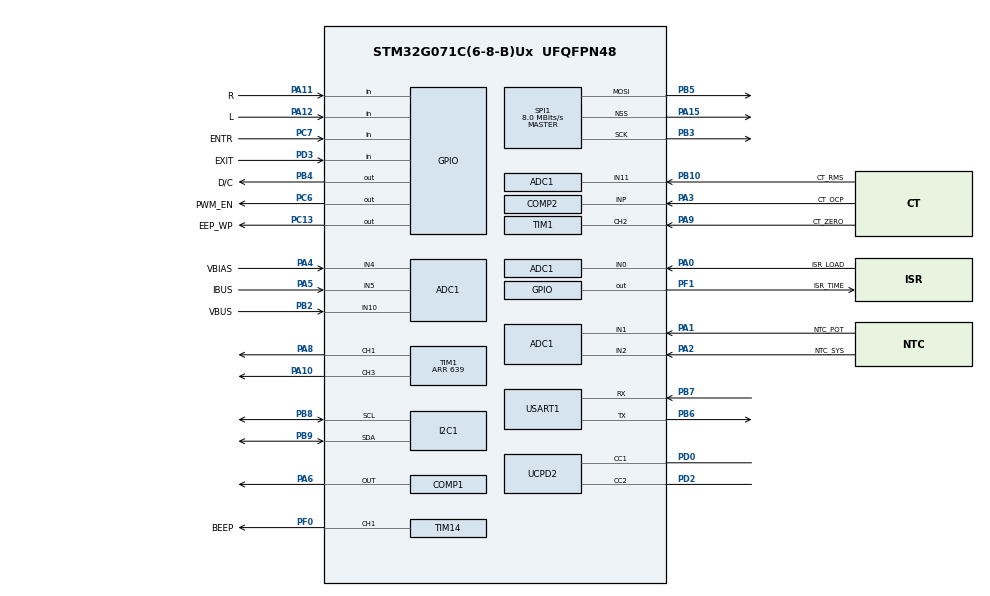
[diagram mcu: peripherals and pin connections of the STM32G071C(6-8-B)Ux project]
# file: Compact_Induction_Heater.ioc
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ADC1.AWD1HighThreshold=3379
ADC1.AWD1ITMode=ENABLE
ADC1.AWD2HighThreshold=4095
ADC1.AWD2ITMode=DISABLE
ADC1.AWD3HighThreshold=4095
ADC1.AWD3ITMode=ENABLE
ADC1.AWD3LowThreshold=640
ADC1.AWDChannel-2\#ChannelRegularConversion=ADC_CHANNEL_5
ADC1.AWDChannel-5\#ChannelRegularConversion=ADC_CHANNEL_2
ADC1.AWatchdogChannel=ADC_CHANNEL_10
ADC1.Channel-1\#ChannelRegularConversion=ADC_CHANNEL_11
ADC1.Channel-2\#ChannelRegularConversion=ADC_CHANNEL_5
ADC1.Channel-3\#ChannelRegularConversion=ADC_CHANNEL_1
ADC1.Channel-4\#ChannelRegularConversion=ADC_CHANNEL_10
ADC1.Channel-5\#ChannelRegularConversion=ADC_CHANNEL_2
ADC1.Channel-6\#ChannelRegularConversion=ADC_CHANNEL_4
ADC1.Channel-7\#ChannelRegularConversion=ADC_CHANNEL_0
ADC1.Channel-8\#ChannelRegularConversion=ADC_CHANNEL_TEMPSENSOR
ADC1.ClockPrescaler=ADC_CLOCK_SYNC_PCLK_DIV4
ADC1.DMAContinuousRequests=ENABLE
ADC1.EnableAnalogWatchDog1=true
ADC1.EnableAnalogWatchDog2=true
ADC1.EnableAnalogWatchDog3=true
ADC1.ExternalTrigConv=ADC_EXTERNALTRIG_T6_TRGO
ADC1.MonitoredBy-2\#ChannelRegularConversion=ADC_ANALOGWATCHDOG_2
ADC1.MonitoredBy-5\#ChannelRegularConversion=ADC_ANALOGWATCHDOG_3
ADC1.NbrOfConversion=8
ADC1.NbrOfConversionFlag=1
ADC1.Rank-1\#ChannelRegularConversion=1
ADC1.Rank-2\#ChannelRegularConversion=2
ADC1.Rank-3\#ChannelRegularConversion=3
ADC1.Rank-4\#ChannelRegularConversion=4
ADC1.Rank-5\#ChannelRegularConversion=5
ADC1.Rank-6\#ChannelRegularConversion=6
ADC1.Rank-7\#ChannelRegularConversion=7
ADC1.Rank-8\#ChannelRegularConversion=8
ADC1.SamplingTime-1\#ChannelRegularConversion=ADC_SAMPLINGTIME_COMMON_1
ADC1.SamplingTime-2\#ChannelRegularConversion=ADC_SAMPLINGTIME_COMMON_1
ADC1.SamplingTime-3\#ChannelRegularConversion=ADC_SAMPLINGTIME_COMMON_1
ADC1.SamplingTime-4\#ChannelRegularConversion=ADC_SAMPLINGTIME_COMMON_1
ADC1.SamplingTime-5\#ChannelRegularConversion=ADC_SAMPLINGTIME_COMMON_1
ADC1.SamplingTime-6\#ChannelRegularConversion=ADC_SAMPLINGTIME_COMMON_1
ADC1.SamplingTime-7\#ChannelRegularConversion=ADC_SAMPLINGTIME_COMMON_1
ADC1.SamplingTime-8\#ChannelRegularConversion=ADC_SAMPLINGTIME_COMMON_2
ADC1.SamplingTimeCommon1=ADC_SAMPLETIME_7CYCLES_5
ADC1.SamplingTimeCommon2=ADC_SAMPLETIME_79CYCLES_5
ADC1.SelectedChannel=ADC_CHANNEL_0|ADC_CHANNEL_1|ADC_CHANNEL_2|ADC_CHANNEL_4|ADC_CHANNEL_5|ADC_CHANNEL_TEMPSENSOR|ADC_CHANNEL_10|ADC_CHANNEL_11
ADC1.Sequencer=FULLY_CONFIGURABLE
ADC1.WDG2ChannelR2=ADC_CHANNEL_5
ADC1.WDG3ChannelR5=ADC_CHANNEL_2
ADC1.master=1
COMP1.OutputPol=COMP_OUTPUTPOL_NONINVERTED
COMP1.WindowMode=COMP_WINDOWMODE_COMP2_INPUT_PLUS_COMMON
COMP1.WindowOutput=COMP_WINDOWOUTPUT_COMP1
DAC1.DAC_Channel-DAC_OUT1_Int=DAC_CHANNEL_1
DAC1.DAC_Channel-DAC_OUT2_Int=DAC_CHANNEL_2
Dma.ADC1.1.Direction=DMA_PERIPH_TO_MEMORY
Dma.ADC1.1.EventEnable=DISABLE
Dma.ADC1.1.Instance=DMA1_Channel2
Dma.ADC1.1.MemDataAlignment=DMA_MDATAALIGN_HALFWORD
Dma.ADC1.1.MemInc=DMA_MINC_ENABLE
Dma.ADC1.1.Mode=DMA_CIRCULAR
Dma.ADC1.1.PeriphDataAlignment=DMA_PDATAALIGN_HALFWORD
Dma.ADC1.1.PeriphInc=DMA_PINC_DISABLE
Dma.ADC1.1.Polarity=HAL_DMAMUX_REQ_GEN_RISING
Dma.ADC1.1.Priority=DMA_PRIORITY_HIGH
Dma.ADC1.1.RequestNumber=1
Dma.ADC1.1.SignalID=NONE
Dma.ADC1.1.SyncEnable=DISABLE
Dma.ADC1.1.SyncPolarity=HAL_DMAMUX_SYNC_NO_EVENT
Dma.ADC1.1.SyncRequestNumber=1
Dma.ADC1.1.SyncSignalID=NONE
Dma.Request0=SPI1_TX
Dma.Request1=ADC1
Dma.Request2=USART1_RX
Dma.Request3=USART1_TX
Dma.Request4=UCPD2_RX
Dma.Request5=UCPD2_TX
Dma.Request6=TIM1_CH2
Dma.SPI1_TX.0.Direction=DMA_MEMORY_TO_PERIPH
Dma.SPI1_TX.0.EventEnable=DISABLE
Dma.SPI1_TX.0.Instance=DMA1_Channel1
Dma.SPI1_TX.0.MemDataAlignment=DMA_MDATAALIGN_BYTE
Dma.SPI1_TX.0.MemInc=DMA_MINC_ENABLE
Dma.SPI1_TX.0.Mode=DMA_NORMAL
Dma.SPI1_TX.0.PeriphDataAlignment=DMA_PDATAALIGN_BYTE
Dma.SPI1_TX.0.PeriphInc=DMA_PINC_DISABLE
Dma.SPI1_TX.0.Polarity=HAL_DMAMUX_REQ_GEN_RISING
Dma.SPI1_TX.0.Priority=DMA_PRIORITY_LOW
Dma.SPI1_TX.0.RequestNumber=1
Dma.SPI1_TX.0.SignalID=NONE
Dma.SPI1_TX.0.SyncEnable=DISABLE
Dma.SPI1_TX.0.SyncPolarity=HAL_DMAMUX_SYNC_NO_EVENT
Dma.SPI1_TX.0.SyncRequestNumber=1
Dma.SPI1_TX.0.SyncSignalID=NONE
Dma.TIM1_CH2.6.Direction=DMA_PERIPH_TO_MEMORY
Dma.TIM1_CH2.6.EventEnable=DISABLE
Dma.TIM1_CH2.6.Instance=DMA1_Channel3
Dma.TIM1_CH2.6.MemDataAlignment=DMA_MDATAALIGN_HALFWORD
Dma.TIM1_CH2.6.MemInc=DMA_MINC_ENABLE
Dma.TIM1_CH2.6.Mode=DMA_NORMAL
Dma.TIM1_CH2.6.PeriphDataAlignment=DMA_PDATAALIGN_HALFWORD
Dma.TIM1_CH2.6.PeriphInc=DMA_PINC_DISABLE
Dma.TIM1_CH2.6.Polarity=HAL_DMAMUX_REQ_GEN_RISING
Dma.TIM1_CH2.6.Priority=DMA_PRIORITY_MEDIUM
Dma.TIM1_CH2.6.RequestNumber=1
Dma.TIM1_CH2.6.SignalID=NONE
Dma.TIM1_CH2.6.SyncEnable=DISABLE
Dma.TIM1_CH2.6.SyncPolarity=HAL_DMAMUX_SYNC_NO_EVENT
Dma.TIM1_CH2.6.SyncRequestNumber=1
Dma.TIM1_CH2.6.SyncSignalID=NONE
Dma.UCPD2_RX.4.Direction=DMA_PERIPH_TO_MEMORY
Dma.UCPD2_RX.4.EventEnable=DISABLE
Dma.UCPD2_RX.4.Instance=DMA1_Channel6
Dma.UCPD2_RX.4.MemDataAlignment=DMA_MDATAALIGN_BYTE
Dma.UCPD2_RX.4.MemInc=DMA_MINC_ENABLE
Dma.UCPD2_RX.4.Mode=DMA_NORMAL
Dma.UCPD2_RX.4.PeriphDataAlignment=DMA_PDATAALIGN_BYTE
Dma.UCPD2_RX.4.PeriphInc=DMA_PINC_DISABLE
Dma.UCPD2_RX.4.Polarity=HAL_DMAMUX_REQ_GEN_RISING
Dma.UCPD2_RX.4.Priority=DMA_PRIORITY_LOW
Dma.UCPD2_RX.4.RequestNumber=1
Dma.UCPD2_RX.4.SignalID=NONE
Dma.UCPD2_RX.4.SyncEnable=DISABLE
Dma.UCPD2_RX.4.SyncPolarity=HAL_DMAMUX_SYNC_NO_EVENT
Dma.UCPD2_RX.4.SyncRequestNumber=1
Dma.UCPD2_RX.4.SyncSignalID=NONE
Dma.UCPD2_TX.5.Direction=DMA_MEMORY_TO_PERIPH
Dma.UCPD2_TX.5.EventEnable=DISABLE
Dma.UCPD2_TX.5.Instance=DMA1_Channel7
Dma.UCPD2_TX.5.MemDataAlignment=DMA_MDATAALIGN_BYTE
Dma.UCPD2_TX.5.MemInc=DMA_MINC_ENABLE
Dma.UCPD2_TX.5.Mode=DMA_NORMAL
Dma.UCPD2_TX.5.PeriphDataAlignment=DMA_PDATAALIGN_BYTE
Dma.UCPD2_TX.5.PeriphInc=DMA_PINC_DISABLE
Dma.UCPD2_TX.5.Polarity=HAL_DMAMUX_REQ_GEN_RISING
Dma.UCPD2_TX.5.Priority=DMA_PRIORITY_LOW
Dma.UCPD2_TX.5.RequestNumber=1
Dma.UCPD2_TX.5.SignalID=NONE
Dma.UCPD2_TX.5.SyncEnable=DISABLE
Dma.UCPD2_TX.5.SyncPolarity=HAL_DMAMUX_SYNC_NO_EVENT
Dma.UCPD2_TX.5.SyncRequestNumber=1
Dma.UCPD2_TX.5.SyncSignalID=NONE
Dma.USART1_RX.2.Direction=DMA_PERIPH_TO_MEMORY
Dma.USART1_RX.2.EventEnable=DISABLE
Dma.USART1_RX.2.Instance=DMA1_Channel4
Dma.USART1_RX.2.MemDataAlignment=DMA_MDATAALIGN_BYTE
Dma.USART1_RX.2.MemInc=DMA_MINC_ENABLE
Dma.USART1_RX.2.Mode=DMA_CIRCULAR
Dma.USART1_RX.2.PeriphDataAlignment=DMA_PDATAALIGN_BYTE
Dma.USART1_RX.2.PeriphInc=DMA_PINC_DISABLE
Dma.USART1_RX.2.Polarity=HAL_DMAMUX_REQ_GEN_RISING
Dma.USART1_RX.2.Priority=DMA_PRIORITY_LOW
Dma.USART1_RX.2.RequestNumber=1
Dma.USART1_RX.2.SignalID=NONE
Dma.USART1_RX.2.SyncEnable=DISABLE
Dma.USART1_RX.2.SyncPolarity=HAL_DMAMUX_SYNC_NO_EVENT
Dma.USART1_RX.2.SyncRequestNumber=1
Dma.USART1_RX.2.SyncSignalID=NONE
Dma.USART1_TX.3.Direction=DMA_MEMORY_TO_PERIPH
Dma.USART1_TX.3.EventEnable=DISABLE
Dma.USART1_TX.3.Instance=DMA1_Channel5
Dma.USART1_TX.3.MemDataAlignment=DMA_MDATAALIGN_BYTE
Dma.USART1_TX.3.MemInc=DMA_MINC_ENABLE
Dma.USART1_TX.3.Mode=DMA_NORMAL
Dma.USART1_TX.3.PeriphDataAlignment=DMA_PDATAALIGN_BYTE
Dma.USART1_TX.3.PeriphInc=DMA_PINC_DISABLE
Dma.USART1_TX.3.Polarity=HAL_DMAMUX_REQ_GEN_RISING
Dma.USART1_TX.3.Priority=DMA_PRIORITY_LOW
Dma.USART1_TX.3.RequestNumber=1
Dma.USART1_TX.3.SignalID=NONE
Dma.USART1_TX.3.SyncEnable=DISABLE
Dma.USART1_TX.3.SyncPolarity=HAL_DMAMUX_SYNC_NO_EVENT
Dma.USART1_TX.3.SyncRequestNumber=1
Dma.USART1_TX.3.SyncSignalID=NONE
I2C1.Timing=0x00B07CB4
Mcu.Family=STM32G0
Mcu.Name=STM32G071C(6-8-B)Ux
Mcu.Package=UFQFPN48
NVIC.ADC1_COMP_IRQn=true\:0\:0\:false\:false\:true\:true\:true\:true
NVIC.DMA1_Ch4_7_DMAMUX1_OVR_IRQn=true\:1\:0\:true\:false\:true\:true\:true\:true
NVIC.DMA1_Channel1_IRQn=true\:1\:0\:true\:false\:true\:false\:true\:true
NVIC.DMA1_Channel2_3_IRQn=true\:0\:0\:false\:false\:true\:true\:true\:true
NVIC.I2C1_IRQn=true\:2\:0\:true\:false\:true\:true\:true\:true
NVIC.SPI1_IRQn=true\:2\:0\:true\:false\:true\:true\:true\:true
NVIC.UCPD1_2_IRQn=true\:1\:0\:true\:false\:true\:true\:false\:true
NVIC.USART1_IRQn=true\:1\:0\:true\:false\:true\:true\:true\:true
PA0.GPIO_Label=ISR_LOAD
PA0.Mode=IN0
PA0.Signal=ADC1_IN0
PA1.GPIO_Label=NTC_POT
PA1.Mode=IN1
PA1.Signal=ADC1_IN1
PA10.GPIO_PuPd=GPIO_PULLDOWN
PA10.GPIO_Speed=GPIO_SPEED_FREQ_VERY_HIGH
PA10.Signal=S_TIM1_CH3
PA11\ [PA9].GPIO_Label=R
PA11\ [PA9].GPIO_PuPd=GPIO_PULLUP
PA11\ [PA9].Signal=GPIO_Input
PA12\ [PA10].GPIO_Label=L
PA12\ [PA10].GPIO_PuPd=GPIO_PULLUP
PA12\ [PA10].Signal=GPIO_Input
PA13.Mode=Serial_Wire
PA13.Signal=SYS_SWDIO
PA14-BOOT0.Mode=Serial_Wire
PA14-BOOT0.Signal=SYS_SWCLK
PA15.GPIO_Speed=GPIO_SPEED_FREQ_MEDIUM
PA15.Mode=NSS_Signal_Hard_Output
PA15.Signal=SPI1_NSS
PA2.GPIO_Label=NTC_SYS
PA2.Mode=IN2
PA2.Signal=ADC1_IN2
PA3.GPIO_Label=CT_OCP
PA3.Mode=INP
PA3.Signal=COMP2_INP
PA4.GPIO_Label=VBIAS
PA4.Mode=IN4
PA4.Signal=ADC1_IN4
PA5.GPIO_Label=IBUS
PA5.Mode=IN5
PA5.Signal=ADC1_IN5
PA6.Mode=ExternalOutput
PA6.PinState=GPIO_PIN_SET
PA6.Signal=COMP1_OUT
PA8.GPIO_PuPd=GPIO_PULLDOWN
PA8.GPIO_Speed=GPIO_SPEED_FREQ_VERY_HIGH
PA8.Signal=S_TIM1_CH1
PA9.GPIO_Label=CT_ZERO
PA9.GPIO_PuPd=GPIO_PULLDOWN
PA9.GPIO_Speed=GPIO_SPEED_FREQ_VERY_HIGH
PA9.Signal=S_TIM1_CH2
PB10.GPIO_Label=CT_RMS
PB10.Mode=IN11
PB10.Signal=ADC1_IN11
PB2.GPIO_Label=VBUS
PB2.Mode=IN10
PB2.Signal=ADC1_IN10
PB3.GPIO_Speed=GPIO_SPEED_FREQ_HIGH
PB3.Mode=TX_Only_Simplex_Unidirect_Master
PB3.Signal=SPI1_SCK
PB4.GPIO_Label=D/C
PB4.GPIO_Speed=GPIO_SPEED_FREQ_MEDIUM
PB4.Signal=GPIO_Output
PB5.GPIO_Speed=GPIO_SPEED_FREQ_HIGH
PB5.Mode=TX_Only_Simplex_Unidirect_Master
PB5.Signal=SPI1_MOSI
PB6.GPIO_Speed=GPIO_SPEED_FREQ_MEDIUM
PB6.Mode=Asynchronous
PB6.Signal=USART1_TX
PB7.GPIO_Speed=GPIO_SPEED_FREQ_MEDIUM
PB7.Mode=Asynchronous
PB7.Signal=USART1_RX
PB8.GPIO_Pu=GPIO_PULLUP
PB8.GPIO_Speed=GPIO_SPEED_FREQ_MEDIUM
PB8.Mode=I2C
PB8.Signal=I2C1_SCL
PB9.GPIO_Pu=GPIO_PULLUP
PB9.GPIO_Speed=GPIO_SPEED_FREQ_MEDIUM
PB9.Mode=I2C
PB9.Signal=I2C1_SDA
PC13.GPIO_Label=EEP_WP
PC13.GPIO_PuPd=GPIO_PULLDOWN
PC13.Signal=GPIO_Output
PC14-OSC32_IN\ (PC14).Mode=LSE-External-Oscillator
PC14-OSC32_IN\ (PC14).Signal=RCC_OSC32_IN
PC15-OSC32_OUT\ (PC15).Mode=LSE-External-Oscillator
PC15-OSC32_OUT\ (PC15).Signal=RCC_OSC32_OUT
PC6.GPIO_Label=PWM_EN
PC6.GPIO_ModeDefaultOutputPP=GPIO_MODE_OUTPUT_PP
PC6.GPIO_PuPd=GPIO_NOPULL
PC6.Signal=GPIO_Output
PC7.GPIO_Label=ENTR
PC7.GPIO_PuPd=GPIO_PULLUP
PC7.Signal=GPIO_Input
PD0.Mode=Sink_AllSignals
PD0.Signal=UCPD2_CC1
PD2.Mode=Sink_AllSignals
PD2.Signal=UCPD2_CC2
PD3.GPIO_Label=EXIT
PD3.GPIO_PuPd=GPIO_PULLUP
PD3.Signal=GPIO_Input
PF0-OSC_IN\ (PF0).GPIO_Label=BEEP
PF0-OSC_IN\ (PF0).GPIO_PuPd=GPIO_PULLDOWN
PF0-OSC_IN\ (PF0).GPIO_Speed=GPIO_SPEED_FREQ_MEDIUM
PF0-OSC_IN\ (PF0).Signal=S_TIM14_CH1
PF1-OSC_OUT\ (PF1).GPIO_Label=ISR_TIME
PF1-OSC_OUT\ (PF1).Signal=GPIO_Output
ProjectManager.HeapSize=0x2000
ProjectManager.StackSize=0x400
ProjectManager.TargetToolchain=MDK-ARM V5.32
RCC.ADCFreq_Value=64000000
RCC.AHBFreq_Value=64000000
RCC.APB1CLKDivider=RCC_HCLK_DIV2
RCC.CortexFreq_Value=64000000
RCC.EXTERNAL_CLOCK_VALUE=48000
RCC.HCLKFreq_Value=64000000
RCC.HSE_VALUE=8000000
RCC.HSI_VALUE=16000000
RCC.PLLN=16
RCC.PLLR=RCC_PLLR_DIV4
RCC.RTCClockSelection=RCC_RTCCLKSOURCE_LSE
RCC.SYSCLKFreq_VALUE=64000000
RCC.SYSCLKSource=RCC_SYSCLKSOURCE_PLLCLK
RCC.TIM15CLockSelectionVirtual=RCC_TIM15CLKSOURCE_PLL
RCC.TIM1CLockSelectionVirtual=RCC_TIM1CLKSOURCE_PLL
RCC.VCOOutputFreq_Value=256000000
RTC.Format=RTC_FORMAT_BIN
SH.S_TIM14_CH1.0=TIM14_CH1,PWM Generation1 CH1
SH.S_TIM1_CH1.0=TIM1_CH1,PWM Generation1 CH1
SH.S_TIM1_CH2.0=TIM1_CH2,Input_Capture2_from_TI2
SH.S_TIM1_CH3.0=TIM1_CH3,PWM Generation3 CH3
SPI1.BaudRatePrescaler=SPI_BAUDRATEPRESCALER_4
SPI1.CalculateBaudRate=8.0 MBits/s
SPI1.DataSize=SPI_DATASIZE_8BIT
SPI1.Direction=SPI_DIRECTION_2LINES
SPI1.Mode=SPI_MODE_MASTER
SPI1.VirtualNSS=VM_NSSHARD
SPI1.VirtualType=VM_MASTER
SYS.VoltageScaling=SYSCFG_VREFBUF_VOLTAGE_SCALE1
TIM1.AutoReloadPreload=TIM_AUTORELOAD_PRELOAD_ENABLE
TIM1.AutomaticOutput=TIM_AUTOMATICOUTPUT_DISABLE
TIM1.Break2State=TIM_BREAK2_DISABLE
TIM1.BreakState=TIM_BREAK_ENABLE
TIM1.Channel-Input_Capture2_from_TI2=TIM_CHANNEL_2
TIM1.Channel-PWM\ Generation1\ CH1=TIM_CHANNEL_1
TIM1.Channel-PWM\ Generation3\ CH3=TIM_CHANNEL_3
TIM1.Channel-PWM\ Generation4\ No\ Output=TIM_CHANNEL_4
TIM1.ICPolarity_CH2=TIM_INPUTCHANNELPOLARITY_RISING
TIM1.OCMode_PWM-PWM\ Generation1\ CH1=TIM_OCMODE_PWM1
TIM1.OCMode_PWM-PWM\ Generation3\ CH3=TIM_OCMODE_COMBINED_PWM2
TIM1.Period=639
TIM1.Pulse-PWM\ Generation1\ CH1=319
TIM1.SourceBRK2COMP2=TIM_BREAKINPUTSOURCE_DISABLE
TIM1.SourceBRKCOMP1=TIM_BREAKINPUTSOURCE_ENABLE
TIM1.SourceBRKCOMP1Polarity=TIM_BREAKINPUTSOURCE_POLARITY_LOW
TIM1.SourceBRKCOMP2=TIM_BREAKINPUTSOURCE_DISABLE
TIM1.TIM_MasterOutputTrigger=TIM_TRGO_UPDATE
TIM14.Channel=TIM_CHANNEL_1
TIM15.Period=65535
TIM15.TIM_MasterSlaveMode=TIM_MASTERSLAVEMODE_DISABLE
TIM6.Period=3199
TIM6.TIM_MasterOutputTrigger=TIM_TRGO_UPDATE
USART1.VirtualMode-Asynchronous=VM_ASYNC
VP_ADC1_TempSens_Input.Mode=IN-TempSens
VP_COMP1_VS_DACOUT1.Mode=INM_DACOUT1
VP_COMP1_VS_WindowMode.Mode=WindowMode
VP_COMP2_VS_DACOUT2.Mode=INM_DACOUT2
VP_CRC_VS_CRC.Mode=CRC_Activate
VP_DAC1_VS_DACI1.Mode=DAC_OUT1_Int
VP_DAC1_VS_DACI2.Mode=DAC_OUT2_Int
VP_RTC_VS_RTC_Activate.Mode=RTC_Enabled
VP_RTC_VS_RTC_Calendar.Mode=RTC_Calendar
VP_TIM14_VS_ClockSourceINT.Mode=Enable_Timer
VP_TIM15_VS_ClockSourceITR.Mode=TriggerSource_ITR0
VP_TIM1_VS_ClockSourceINT.Mode=Internal
VP_TIM1_VS_no_output4.Mode=PWM Generation4 No Output
VP_TIM6_VS_ClockSourceINT.Mode=Enable_Timer
VREF+.Mode=InternalMode
VREF+.Signal=VREFBUF_OUT
board=custom

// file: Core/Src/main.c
/* USER CODE BEGIN Header */
/**
  ******************************************************************************
  * @file           : main.c
  * @brief          : Main program body
  ******************************************************************************
  * @attention
  *
  * Copyright (c) 2026 STMicroelectronics.
  * All rights reserved.
  *
  * This software is licensed under terms that can be found in the LICENSE file
  * in the root directory of this software component.
  * If no LICENSE file comes with this software, it is provided AS-IS.
  *
  ******************************************************************************
  */
/* USER CODE END Header */
#include "main.h"
#include "adc.h"
#include "comp.h"
#include "crc.h"
#include "dac.h"
#include "dma.h"
#include "i2c.h"
#include "rtc.h"
#include "spi.h"
#include "tim.h"
#include "ucpd.h"
#include "usart.h"
#include "gpio.h"

/* USER CODE BEGIN Includes */
#include "usbpd.h"
#include "app_tasks.h"
#include "framework/time_service.h"
#include "conv_controller.h"
#include "usart.h"
#include "ih_reset_diag.h"
#include <stdio.h>

/* USER CODE END Includes */

void SystemClock_Config(void);

/* USER CODE BEGIN 0 */
/* IH01A 生成护栏: uvprojx 里没有 FULL 的定义,说明有人在 CubeMX 里重新生成过工程
 * (CubeMX 会按固件包 v1.6.3 的旧记录把 PD 配置打回 MINSNK)。
 * 处理办法: git checkout HEAD -- Firmware/MDK-ARM/Compact_Induction_Heater.uvprojx
 *          (CubeMX 6.17 会保留工程里的自定义 IncludePath/Define/文件列表,
 *           只把 PD 库目录和它自认为"多余"的驱动源文件删掉;库已搬到
 *           Firmware/ST_USBPD_Library_v541 不再受它管理)。 */
#if !defined(USBPDCORE_LIB_PD3_FULL)
#error "CubeMX regenerated the project without the FULL USB-PD stack. Run: git checkout HEAD -- Firmware/MDK-ARM/Compact_Induction_Heater.uvprojx, then Rebuild."
#endif
/* SRAM VTOR relocation lives in main.c, not in the PowerControl module.
 * Flash RESET stays at 0x08000000; .ih_vectors is reserved in scatter.
 * 64 vector entries = 256 bytes, and the destination is 256-aligned. */
static uint32_t s_sram_vectors[64]
    __attribute__((section(".ih_vectors"), aligned(256), used));
/* The scatter file reserves a separate 32-byte UNINIT SRAM region within
 * the 0x20008E00..0x20008EFF gap (away from RAM ISR, stack and VTOR).
 * C startup must never erase this marker on an NVIC_SystemReset(). */
static volatile IH_ResetDiagRecord s_reset_diag
    __attribute__((section(".ih_reset_diag"), aligned(4), used));
extern const uint32_t __Vectors[];
extern const uint32_t __Vectors_End[];

static void RelocateVectorTable(void)
{
    uint32_t i;
    uint32_t primask=__get_PRIMASK();
    __disable_irq();
    uint32_t count=(uint32_t)(((uintptr_t)__Vectors_End-
                              (uintptr_t)__Vectors)/sizeof(uint32_t));
    for(i=0u;i<64u;++i)
        s_sram_vectors[i]=(i<count) ? __Vectors[i] : 0u;
    __DSB();
    SCB->VTOR=(uint32_t)s_sram_vectors;
    __DSB();
    __ISB();
    if((primask & 1u)==0u) __enable_irq();
}
/* USER CODE END 0 */

int main(void)
{

  /* USER CODE BEGIN 1 */
  /* Capture/reset evidence BEFORE any HAL, RTC or RCC initialization.
   * Only a validated RAM marker together with SFTRSTF (and no PWRRSTF)
   * may identify our own emergency software reset. */
  uint32_t boot_reset_flags=RCC->CSR;
  uint32_t boot_reset_stage=0u;
  uint32_t boot_reset_cause=IH_ResetDiag_PriorCause(
      boot_reset_flags,&s_reset_diag,&boot_reset_stage);
  s_reset_diag.magic=0u; /* consume evidence exactly once */
  __DSB();
  __HAL_RCC_CLEAR_RESET_FLAGS();

  /* USER CODE END 1 */

  /* MCU Configuration--------------------------------------------------------*/

  /* Reset of all peripherals, Initializes the Flash interface and the Systick. */
  HAL_Init();

  /* Configure the system clock */
  SystemClock_Config();

  /* USER CODE BEGIN SysInit */
  /* Copy Flash vector table to the reserved 256B SRAM slot, then switch VTOR.
   * Must happen before peripherals with enabled DMA interrupts start. */
  RelocateVectorTable();
  /* USER CODE END SysInit */

  /* Initialize all configured peripherals */
  MX_GPIO_Init();
  MX_DMA_Init();
  MX_COMP1_Init();
  MX_COMP2_Init();
  MX_DAC1_Init();
  MX_RTC_Init();
  MX_SPI1_Init();
  MX_TIM1_Init();
  MX_TIM15_Init();
  MX_ADC1_Init();
  MX_I2C1_Init();
  MX_TIM6_Init();
  MX_UCPD2_Init();
  MX_USART1_UART_Init();
  MX_CRC_Init();
  MX_TIM14_Init();
  /* USER CODE BEGIN 2 */
  /* RTC was reset to a relative calendar origin by MX_RTC_Init().
   * Record the boot epoch after all CubeMX peripheral initialization. */
  Time_Init();
  /* Debug UART ring/DMA layer: ours, not CubeMX's - keep it inside USER CODE so a
   * regeneration cannot delete the call (that is what killed the console once). */
  g_uart_boot_stage=2u;
  DebugUART_Init(boot_reset_flags,boot_reset_cause,boot_reset_stage);
  g_uart_boot_stage=3u;
  /* USB-PD FULL stack: the whole Firmware/USBPD tree is hand-maintained (USBPD is
   * unchecked in CubeMX), so this call has to live here as well. */
  MX_USBPD_Init();
  /* USER CODE END 2 */

  /* Infinite loop */
  /* USER CODE BEGIN WHILE */
  APP_Tasks_Init();
  /* ADC/TIM6 and zero capture start once in TempService_Poll(). TIM1
   * 200kHz logic PWM is then started with PC6 LOW; only the explicit,
   * independently checked 12V bench RUN may enable FD2204 for <=10s. */
  g_uart_boot_stage=4u;
  while (1)
  {
    /* USER CODE END WHILE */

    /* USER CODE BEGIN 3 */
    /* PD 栈 + coroOS 的主驱动, 链路:
     *   USBPD_DPM_Run() -> USBPD_DPM_UserExecute() -> APP_Tasks_RunOnce()
     *                   -> CoroOS_RunOnce() + SSD1315_Display_Service()
     * CubeMX 取消 USBPD 后不再自动插入这一行, 必须留在 USER CODE, 否则调度器
     * 永远不会被调用(表现: 停在 while(1), UI/ADC/PD 全部无反应)。 */
    USBPD_DPM_Run();
  }
  /* USER CODE END 3 */
}

void SystemClock_Config(void)
{
  LL_FLASH_SetLatency(LL_FLASH_LATENCY_2);
  while(LL_FLASH_GetLatency() != LL_FLASH_LATENCY_2)
  {
  }

  /* HSI configuration and activation */
  LL_RCC_HSI_Enable();
  while(LL_RCC_HSI_IsReady() != 1)
  {
  }

  LL_PWR_EnableBkUpAccess();
  /* LSE configuration and activation */
  LL_RCC_LSE_SetDriveCapability(LL_RCC_LSEDRIVE_LOW);
  LL_RCC_LSE_Enable();
  while(LL_RCC_LSE_IsReady() != 1)
  {
  }

  /* Main PLL configuration and activation */
  LL_RCC_PLL_ConfigDomain_TIM1(LL_RCC_PLLSOURCE_HSI, LL_RCC_PLLM_DIV_1, 16, LL_RCC_PLLQ_DIV_2);
  LL_RCC_PLL_ConfigDomain_TIM15(LL_RCC_PLLSOURCE_HSI, LL_RCC_PLLM_DIV_1, 16, LL_RCC_PLLQ_DIV_2);
  LL_RCC_PLL_EnableDomain_TIM1();
  LL_RCC_PLL_EnableDomain_TIM15();
  LL_RCC_PLL_ConfigDomain_SYS(LL_RCC_PLLSOURCE_HSI, LL_RCC_PLLM_DIV_1, 16, LL_RCC_PLLR_DIV_4);
  LL_RCC_PLL_Enable();
  LL_RCC_PLL_EnableDomain_SYS();
  while(LL_RCC_PLL_IsReady() != 1)
  {
  }

  /* Set AHB prescaler*/
  LL_RCC_SetAHBPrescaler(LL_RCC_SYSCLK_DIV_1);

  /* Sysclk activation on the main PLL */
  LL_RCC_SetSysClkSource(LL_RCC_SYS_CLKSOURCE_PLL);
  while(LL_RCC_GetSysClkSource() != LL_RCC_SYS_CLKSOURCE_STATUS_PLL)
  {
  }

  /* Set APB1 prescaler*/
  LL_RCC_SetAPB1Prescaler(LL_RCC_APB1_DIV_2);
  /* Update CMSIS variable (which can be updated also through SystemCoreClockUpdate function) */
  LL_SetSystemCoreClock(64000000);

   /* Update the time base */
  if (HAL_InitTick (TICK_INT_PRIORITY) != HAL_OK)
  {
    Error_Handler();
  }
}

/* USER CODE BEGIN 4 */
/* Fatal path: PC6 LOW first; do not use UART, HAL delays, locks, heap or
 * scheduler. A four-word retained SRAM marker lets the NEXT boot separate
 * our own NVIC_SystemReset from a different software-reset caller. */
void IH_EmergencyResetReason(uint32_t cause)
{
    __disable_irq();
    LL_IOP_GRP1_EnableClock(LL_IOP_GRP1_PERIPH_GPIOC);
    LL_GPIO_ResetOutputPin(PWM_EN_GPIO_Port,PWM_EN_Pin);
    LL_GPIO_SetPinMode(PWM_EN_GPIO_Port,PWM_EN_Pin,LL_GPIO_MODE_OUTPUT);
    __DSB();
    /* Two-phase record: invalidate old data first, commit MAGIC last. */
    s_reset_diag.magic=0u;
    s_reset_diag.cause=cause;
    s_reset_diag.inverted_cause=~cause;
    s_reset_diag.stage=g_uart_boot_stage;
    __DSB();
    s_reset_diag.magic=IH_RESET_DIAG_MAGIC;
    __DSB();
    for(;;)NVIC_SystemReset();
}
void IH_EmergencyReset(void)
{
    IH_EmergencyResetReason(IH_RESET_CAUSE_EMERGENCY);
}
/* USER CODE END 4 */

void Error_Handler(void)
{
  /* USER CODE BEGIN Error_Handler_Debug */
  /* Hardware/clock/ADC failures must never leave the FD2204 gate enabled. */
  IH_EmergencyResetReason(IH_RESET_CAUSE_ERROR_HANDLER);
  /* USER CODE END Error_Handler_Debug */
}
#ifdef USE_FULL_ASSERT
/**
  * @brief  Reports the name of the source file and the source line number
  *         where the assert_param error has occurred.
  * @param  file: pointer to the source file name
  * @param  line: assert_param error line source number
  * @retval None
  */
void assert_failed(uint8_t *file, uint32_t line)
{
  /* USER CODE BEGIN 6 */
  (void)file;
  (void)line;
  IH_EmergencyResetReason(IH_RESET_CAUSE_ASSERT);
  /* USER CODE END 6 */
}
#endif /* USE_FULL_ASSERT */
